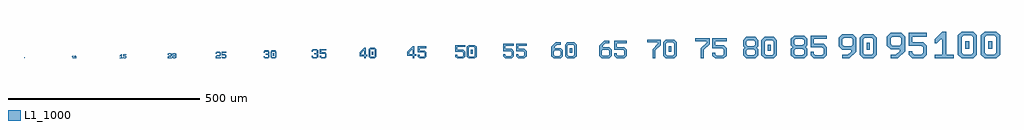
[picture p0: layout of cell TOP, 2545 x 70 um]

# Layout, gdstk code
import gdstk
lib = gdstk.Library(unit=1e-6, precision=1e-09)
def R(c, l, rs):  # rectangles x0, y0, x1, y1
    for r in rs: c.add(gdstk.rectangle(r[:2], r[2:], *l))
def P(c, l, *ps):  # polygons
    for p in ps: c.add(gdstk.Polygon(p, *l))
L1_1000 = (1, 1000)

top = lib.new_cell('TOP')
R(top, L1_1000, [(133,2.5,134,4.5), (391,5,393,9), (649,7.5,652,13.5), (907,10,911,18), (1165,12.5,1170,22.5), (1423,15,1429,27), (1681,17.5,1688,31.5), (1939,20,1947,36), (2197,22.5,2206,40.5), (2455,25,2465,45), (2515,25,2525,45)])
P(top, L1_1000, [(0.5,0),(0,0.5),(0,1),(0.5,1),(0.5,0.75),(0.75,0.5),(1.75,0.5),(2,0.75),(2,1.5),(1.75,1.75),(0,1.75),(0,3.5),(2.5,3.5),(2.5,3),(0.5,3),(0.5,2.25),(2,2.25),(2.5,1.75),(2.5,0.5),(2,0)],
  [(125,0),(125,1),(127,1),(127,5),(126.5,5),(125.5,4),(125,4),(125,5),(127,7),(128,7),(128,1),(130,1),(130,0)],
  [(132,0),(131,1),(131,6),(132,7),(135,7),(136,6),(132.5,6),(132,5.5),(132,1.5),(132.5,1),(134.5,1),(135,1.5),(135,5.5),(134.5,6),(136,6),(136,1),(135,0)],
  [(250,0),(250,1.5),(253,1.5),(253,7.5),(252.25,7.5),(250.75,6),(250,6),(250,7.5),(253,10.5),(254.5,10.5),(254.5,1.5),(257.5,1.5),(257.5,0)],
  [(260.5,0),(259,1.5),(259,3),(260.5,3),(260.5,2.25),(261.25,1.5),(264.25,1.5),(265,2.25),(265,4.5),(264.25,5.25),(259,5.25),(259,10.5),(266.5,10.5),(266.5,9),(260.5,9),(260.5,6.75),(265,6.75),(266.5,5.25),(266.5,1.5),(265,0)],
  [(375,0),(375,5),(377,7),(382,7),(383,8),(383,11),(382,12),(378,12),(377,11),(377,10),(375,10),(375,12),(377,14),(383,14),(385,12),(385,7),(383,5),(378,5),(377,4),(377,2),(385,2),(385,0)],
  [(389,0),(387,2),(387,12),(389,14),(395,14),(397,12),(390,12),(389,11),(389,3),(390,2),(394,2),(395,3),(395,11),(394,12),(397,12),(397,2),(395,0)],
  [(500,0),(500,6.25),(502.5,8.75),(508.75,8.75),(510,10),(510,13.75),(508.75,15),(503.75,15),(502.5,13.75),(502.5,12.5),(500,12.5),(500,15),(502.5,17.5),(510,17.5),(512.5,15),(512.5,8.75),(510,6.25),(503.75,6.25),(502.5,5),(502.5,2.5),(512.5,2.5),(512.5,0)],
  [(517.5,0),(515,2.5),(515,5),(517.5,5),(517.5,3.75),(518.75,2.5),(523.75,2.5),(525,3.75),(525,7.5),(523.75,8.75),(515,8.75),(515,17.5),(527.5,17.5),(527.5,15),(517.5,15),(517.5,11.25),(525,11.25),(527.5,8.75),(527.5,2.5),(525,0)],
  [(628,0),(625,3),(625,6),(628,6),(628,4.5),(629.5,3),(635.5,3),(637,4.5),(637,7.5),(635.5,9),(631,9),(631,12),(635.5,12),(637,13.5),(637,16.5),(635.5,18),(629.5,18),(628,16.5),(628,15),(625,15),(625,18),(628,21),(637,21),(640,18),(640,12),(638.5,10.5),(640,9),(640,3),(637,0)],
  [(646,0),(643,3),(643,18),(646,21),(655,21),(658,18),(647.5,18),(646,16.5),(646,4.5),(647.5,3),(653.5,3),(655,4.5),(655,16.5),(653.5,18),(658,18),(658,3),(655,0)],
  [(753.5,0),(750,3.5),(750,7),(753.5,7),(753.5,5.25),(755.25,3.5),(762.25,3.5),(764,5.25),(764,8.75),(762.25,10.5),(757,10.5),(757,14),(762.25,14),(764,15.75),(764,19.25),(762.25,21),(755.25,21),(753.5,19.25),(753.5,17.5),(750,17.5),(750,21),(753.5,24.5),(764,24.5),(767.5,21),(767.5,14),(765.75,12.25),(767.5,10.5),(767.5,3.5),(764,0)],
  [(774.5,0),(771,3.5),(771,7),(774.5,7),(774.5,5.25),(776.25,3.5),(783.25,3.5),(785,5.25),(785,10.5),(783.25,12.25),(771,12.25),(771,24.5),(788.5,24.5),(788.5,21),(774.5,21),(774.5,15.75),(785,15.75),(788.5,12.25),(788.5,3.5),(785,0)],
  [(887,0),(887,6),(875,6),(875,10),(887,10),(887,20),(885,20),(879,14),(879,10),(875,10),(875,16),(887,28),(891,28),(891,10),(895,10),(895,6),(891,6),(891,0)],
  [(903,0),(899,4),(899,24),(903,28),(915,28),(919,24),(905,24),(903,22),(903,6),(905,4),(913,4),(915,6),(915,22),(913,24),(919,24),(919,4),(915,0)],
  [(1013.5,0),(1013.5,6.75),(1000,6.75),(1000,11.25),(1013.5,11.25),(1013.5,22.5),(1011.25,22.5),(1004.5,15.75),(1004.5,11.25),(1000,11.25),(1000,18),(1013.5,31.5),(1018,31.5),(1018,11.25),(1022.5,11.25),(1022.5,6.75),(1018,6.75),(1018,0)],
  [(1031.5,0),(1027,4.5),(1027,9),(1031.5,9),(1031.5,6.75),(1033.75,4.5),(1042.75,4.5),(1045,6.75),(1045,13.5),(1042.75,15.75),(1027,15.75),(1027,31.5),(1049.5,31.5),(1049.5,27),(1031.5,27),(1031.5,20.25),(1045,20.25),(1049.5,15.75),(1049.5,4.5),(1045,0)],
  [(1130,0),(1125,5),(1125,10),(1130,10),(1130,7.5),(1132.5,5),(1142.5,5),(1145,7.5),(1145,15),(1142.5,17.5),(1125,17.5),(1125,35),(1150,35),(1150,30),(1130,30),(1130,22.5),(1145,22.5),(1150,17.5),(1150,5),(1145,0)],
  [(1160,0),(1155,5),(1155,30),(1160,35),(1175,35),(1180,30),(1162.5,30),(1160,27.5),(1160,7.5),(1162.5,5),(1172.5,5),(1175,7.5),(1175,27.5),(1172.5,30),(1180,30),(1180,5),(1175,0)],
  [(1255.5,0),(1250,5.5),(1250,11),(1255.5,11),(1255.5,8.25),(1258.25,5.5),(1269.25,5.5),(1272,8.25),(1272,16.5),(1269.25,19.25),(1250,19.25),(1250,38.5),(1277.5,38.5),(1277.5,33),(1255.5,33),(1255.5,24.75),(1272,24.75),(1277.5,19.25),(1277.5,5.5),(1272,0)],
  [(1288.5,0),(1283,5.5),(1283,11),(1288.5,11),(1288.5,8.25),(1291.25,5.5),(1302.25,5.5),(1305,8.25),(1305,16.5),(1302.25,19.25),(1283,19.25),(1283,38.5),(1310.5,38.5),(1310.5,33),(1288.5,33),(1288.5,24.75),(1305,24.75),(1310.5,19.25),(1310.5,5.5),(1305,0)],
  [(1381,0),(1375,6),(1375,30),(1387,42),(1399,42),(1399,36),(1390,36),(1384,30),(1384,27),(1399,27),(1405,21),(1384,21),(1381,18),(1381,9),(1384,6),(1396,6),(1399,9),(1399,18),(1396,21),(1405,21),(1405,6),(1399,0)],
  [(1417,0),(1411,6),(1411,36),(1417,42),(1435,42),(1441,36),(1420,36),(1417,33),(1417,9),(1420,6),(1432,6),(1435,9),(1435,33),(1432,36),(1441,36),(1441,6),(1435,0)],
  [(1506.5,0),(1500,6.5),(1500,32.5),(1513,45.5),(1526,45.5),(1526,39),(1516.25,39),(1509.75,32.5),(1509.75,29.25),(1526,29.25),(1532.5,22.75),(1509.75,22.75),(1506.5,19.5),(1506.5,9.75),(1509.75,6.5),(1522.75,6.5),(1526,9.75),(1526,19.5),(1522.75,22.75),(1532.5,22.75),(1532.5,6.5),(1526,0)],
  [(1545.5,0),(1539,6.5),(1539,13),(1545.5,13),(1545.5,9.75),(1548.75,6.5),(1561.75,6.5),(1565,9.75),(1565,19.5),(1561.75,22.75),(1539,22.75),(1539,45.5),(1571.5,45.5),(1571.5,39),(1545.5,39),(1545.5,29.25),(1565,29.25),(1571.5,22.75),(1571.5,6.5),(1565,0)],
  [(1639,0),(1639,24.5),(1653,38.5),(1653,42),(1625,42),(1625,49),(1660,49),(1660,35),(1646,21),(1646,0)],
  [(1674,0),(1667,7),(1667,42),(1674,49),(1695,49),(1702,42),(1677.5,42),(1674,38.5),(1674,10.5),(1677.5,7),(1691.5,7),(1695,10.5),(1695,38.5),(1691.5,42),(1702,42),(1702,7),(1695,0)],
  [(1765,0),(1765,26.25),(1780,41.25),(1780,45),(1750,45),(1750,52.5),(1787.5,52.5),(1787.5,37.5),(1772.5,22.5),(1772.5,0)],
  [(1802.5,0),(1795,7.5),(1795,15),(1802.5,15),(1802.5,11.25),(1806.25,7.5),(1821.25,7.5),(1825,11.25),(1825,22.5),(1821.25,26.25),(1795,26.25),(1795,52.5),(1832.5,52.5),(1832.5,45),(1802.5,45),(1802.5,33.75),(1825,33.75),(1832.5,26.25),(1832.5,7.5),(1825,0)],
  [(1883,0),(1875,8),(1875,24),(1879,28),(1875,32),(1875,48),(1883,56),(1907,56),(1915,48),(1887,48),(1883,44),(1883,36),(1887,32),(1903,32),(1907,36),(1907,44),(1903,48),(1915,48),(1915,32),(1911,28),(1915,24),(1887,24),(1883,20),(1883,12),(1887,8),(1903,8),(1907,12),(1907,20),(1903,24),(1915,24),(1915,8),(1907,0)],
  [(1931,0),(1923,8),(1923,48),(1931,56),(1955,56),(1963,48),(1935,48),(1931,44),(1931,12),(1935,8),(1951,8),(1955,12),(1955,44),(1951,48),(1963,48),(1963,8),(1955,0)],
  [(2008.5,0),(2000,8.5),(2000,25.5),(2004.25,29.75),(2000,34),(2000,51),(2008.5,59.5),(2034,59.5),(2042.5,51),(2012.75,51),(2008.5,46.75),(2008.5,38.25),(2012.75,34),(2029.75,34),(2034,38.25),(2034,46.75),(2029.75,51),(2042.5,51),(2042.5,34),(2038.25,29.75),(2042.5,25.5),(2012.75,25.5),(2008.5,21.25),(2008.5,12.75),(2012.75,8.5),(2029.75,8.5),(2034,12.75),(2034,21.25),(2029.75,25.5),(2042.5,25.5),(2042.5,8.5),(2034,0)],
  [(2059.5,0),(2051,8.5),(2051,17),(2059.5,17),(2059.5,12.75),(2063.75,8.5),(2080.75,8.5),(2085,12.75),(2085,25.5),(2080.75,29.75),(2051,29.75),(2051,59.5),(2093.5,59.5),(2093.5,51),(2059.5,51),(2059.5,38.25),(2085,38.25),(2093.5,29.75),(2093.5,8.5),(2085,0)],
  [(2134,0),(2134,9),(2147.5,9),(2156.5,18),(2156.5,22.5),(2134,22.5),(2125,31.5),(2156.5,31.5),(2161,36),(2161,49.5),(2156.5,54),(2138.5,54),(2134,49.5),(2134,36),(2138.5,31.5),(2125,31.5),(2125,54),(2134,63),(2161,63),(2170,54),(2170,18),(2152,0)],
  [(2188,0),(2179,9),(2179,54),(2188,63),(2215,63),(2224,54),(2192.5,54),(2188,49.5),(2188,13.5),(2192.5,9),(2210.5,9),(2215,13.5),(2215,49.5),(2210.5,54),(2224,54),(2224,9),(2215,0)],
  [(2259.5,0),(2259.5,9.5),(2273.75,9.5),(2283.25,19),(2283.25,23.75),(2259.5,23.75),(2250,33.25),(2283.25,33.25),(2288,38),(2288,52.25),(2283.25,57),(2264.25,57),(2259.5,52.25),(2259.5,38),(2264.25,33.25),(2250,33.25),(2250,57),(2259.5,66.5),(2288,66.5),(2297.5,57),(2297.5,19),(2278.5,0)],
  [(2316.5,0),(2307,9.5),(2307,19),(2316.5,19),(2316.5,14.25),(2321.25,9.5),(2340.25,9.5),(2345,14.25),(2345,28.5),(2340.25,33.25),(2307,33.25),(2307,66.5),(2354.5,66.5),(2354.5,57),(2316.5,57),(2316.5,42.75),(2345,42.75),(2354.5,33.25),(2354.5,9.5),(2345,0)],
  [(2375,0),(2375,10),(2395,10),(2395,50),(2390,50),(2380,40),(2375,40),(2375,50),(2395,70),(2405,70),(2405,10),(2425,10),(2425,0)],
  [(2445,0),(2435,10),(2435,60),(2445,70),(2475,70),(2485,60),(2450,60),(2445,55),(2445,15),(2450,10),(2470,10),(2475,15),(2475,55),(2470,60),(2485,60),(2485,10),(2475,0)],
  [(2505,0),(2495,10),(2495,60),(2505,70),(2535,70),(2545,60),(2510,60),(2505,55),(2505,15),(2510,10),(2530,10),(2535,15),(2535,55),(2530,60),(2545,60),(2545,10),(2535,0)])

lib.write_gds('TOP.gds')
